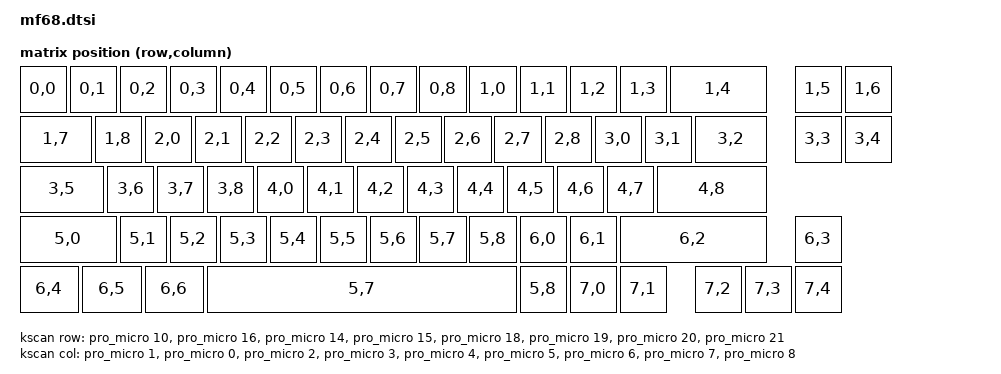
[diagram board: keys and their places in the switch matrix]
#include <physical_layouts.dtsi>
#include <dt-bindings/zmk/matrix_transform.h>

/ {
    chosen {
        zmk,kscan = &kscan;
        zmk,matrix_transform = &transform;
    };
    
    layout_mf68: layout_mf68 {
        compatible = "zmk,physical-layout";
        display-name = "Default";

        keys  //                     w   h    x    y     rot    rx    ry
            = <&key_physical_attrs 100 100    0    0       0     0     0>
            , <&key_physical_attrs 100 100  100    0       0     0     0>
            , <&key_physical_attrs 100 100  200    0       0     0     0>
            , <&key_physical_attrs 100 100  300    0       0     0     0>
            , <&key_physical_attrs 100 100  400    0       0     0     0>
            , <&key_physical_attrs 100 100  500    0       0     0     0>
            , <&key_physical_attrs 100 100  600    0       0     0     0>
            , <&key_physical_attrs 100 100  700    0       0     0     0>
            , <&key_physical_attrs 100 100  800    0       0     0     0>
            , <&key_physical_attrs 100 100  900    0       0     0     0>
            , <&key_physical_attrs 100 100 1000    0       0     0     0>
            , <&key_physical_attrs 100 100 1100    0       0     0     0>
            , <&key_physical_attrs 100 100 1200    0       0     0     0>
            , <&key_physical_attrs 200 100 1300    0       0     0     0>
            , <&key_physical_attrs 100 100 1550    0       0     0     0>
            , <&key_physical_attrs 100 100 1650    0       0     0     0>

            , <&key_physical_attrs 150 100    0  100       0     0     0>
            , <&key_physical_attrs 100 100  150  100       0     0     0>
            , <&key_physical_attrs 100 100  250  100       0     0     0>
            , <&key_physical_attrs 100 100  350  100       0     0     0>
            , <&key_physical_attrs 100 100  450  100       0     0     0>
            , <&key_physical_attrs 100 100  550  100       0     0     0>
            , <&key_physical_attrs 100 100  650  100       0     0     0>
            , <&key_physical_attrs 100 100  750  100       0     0     0>
            , <&key_physical_attrs 100 100  850  100       0     0     0>
            , <&key_physical_attrs 100 100  950  100       0     0     0>
            , <&key_physical_attrs 100 100 1050  100       0     0     0>
            , <&key_physical_attrs 100 100 1150  100       0     0     0>
            , <&key_physical_attrs 100 100 1250  100       0     0     0>
            , <&key_physical_attrs 150 100 1350  100       0     0     0>
            , <&key_physical_attrs 100 100 1550  100       0     0     0>
            , <&key_physical_attrs 100 100 1650  100       0     0     0>

            , <&key_physical_attrs 175 100    0  200       0     0     0>
            , <&key_physical_attrs 100 100  175  200       0     0     0>
            , <&key_physical_attrs 100 100  275  200       0     0     0>
            , <&key_physical_attrs 100 100  375  200       0     0     0>
            , <&key_physical_attrs 100 100  475  200       0     0     0>
            , <&key_physical_attrs 100 100  575  200       0     0     0>
            , <&key_physical_attrs 100 100  675  200       0     0     0>
            , <&key_physical_attrs 100 100  775  200       0     0     0>
            , <&key_physical_attrs 100 100  875  200       0     0     0>
            , <&key_physical_attrs 100 100  975  200       0     0     0>
            , <&key_physical_attrs 100 100 1075  200       0     0     0>
            , <&key_physical_attrs 100 100 1175  200       0     0     0>
            , <&key_physical_attrs 225 100 1275  200       0     0     0>

            , <&key_physical_attrs 200 100    0  300       0     0     0>
            , <&key_physical_attrs 100 100  200  300       0     0     0>
            , <&key_physical_attrs 100 100  300  300       0     0     0>
            , <&key_physical_attrs 100 100  400  300       0     0     0>
            , <&key_physical_attrs 100 100  500  300       0     0     0>
            , <&key_physical_attrs 100 100  600  300       0     0     0>
            , <&key_physical_attrs 100 100  700  300       0     0     0>
            , <&key_physical_attrs 100 100  800  300       0     0     0>
            , <&key_physical_attrs 100 100  900  300       0     0     0>
            , <&key_physical_attrs 100 100 1000  300       0     0     0>
            , <&key_physical_attrs 100 100 1100  300       0     0     0>
            , <&key_physical_attrs 300 100 1200  300       0     0     0>
            , <&key_physical_attrs 100 100 1550  300       0     0     0>

            , <&key_physical_attrs 125 100    0  400       0     0     0>
            , <&key_physical_attrs 125 100  125  400       0     0     0>
            , <&key_physical_attrs 125 100  250  400       0     0     0>
            , <&key_physical_attrs 625 100  375  400       0     0     0>
            , <&key_physical_attrs 100 100 1000  400       0     0     0>
            , <&key_physical_attrs 100 100 1100  400       0     0     0>
            , <&key_physical_attrs 100 100 1200  400       0     0     0>
            , <&key_physical_attrs 100 100 1350  400       0     0     0>
            , <&key_physical_attrs 100 100 1450  400       0     0     0>
            , <&key_physical_attrs 100 100 1550  400       0     0     0>
            ;
    };
    
    aliases {
        led-red = &led0;
        led-green = &led1;
        led-blue = &led2;
    };

    leds {
        compatible = "gpio-leds";
        status = "okay";
        led0: led_0 {
            gpios = <&gpio1 1 GPIO_ACTIVE_LOW>;
        };
        led1: led_1 {
            gpios = <&gpio1 2 GPIO_ACTIVE_LOW>;
        };
        led2: led_2 {
            gpios = <&gpio1 7 GPIO_ACTIVE_LOW>;
        };
    };

    kscan: kscan {
        compatible = "zmk,kscan-gpio-matrix";
        label = "KSCAN";
        diode-direction = "col2row";

        row-gpios = <&pro_micro 10 (GPIO_ACTIVE_LOW)>,  /* Pro Micro B6 -> P0.10 */
                    <&pro_micro 16 (GPIO_ACTIVE_LOW)>,  /* Pro Micro B2 -> P0.11 */
                    <&pro_micro 14 (GPIO_ACTIVE_LOW)>,  /* Pro Micro B3 -> P0.12 */
                    <&pro_micro 15 (GPIO_ACTIVE_LOW)>,  /* Pro Micro B1 -> P0.13 */
                    <&pro_micro 18 (GPIO_ACTIVE_LOW)>,  /* Pro Micro F7 -> P0.14 */
                    <&pro_micro 19 (GPIO_ACTIVE_LOW)>,  /* Pro Micro F6 -> P0.15 */
                    <&pro_micro 20 (GPIO_ACTIVE_LOW)>,  /* Pro Micro F3 -> P0.16 */
                    <&pro_micro 21 (GPIO_ACTIVE_LOW)>;  /* Pro Micro F4 -> P0.17 */

        col-gpios = <&pro_micro 1  (GPIO_ACTIVE_LOW)>,  /* Pro Micro D3 -> P0.02 */
                    <&pro_micro 0  (GPIO_ACTIVE_LOW)>,  /* Pro Micro D2 -> P0.03 */
                    <&pro_micro 2  (GPIO_ACTIVE_LOW)>, /* Pro Micro D1 -> P0.28 */
                    <&pro_micro 3  (GPIO_ACTIVE_LOW)>, /* Pro Micro D0 -> P0.29 */
                    <&pro_micro 4  (GPIO_ACTIVE_LOW)>, /* Pro Micro D4 -> P0.30 */
                    <&pro_micro 5  (GPIO_ACTIVE_LOW)>, /* Pro Micro C6 -> P0.31 */
                    <&pro_micro 6  (GPIO_ACTIVE_LOW)>,  /* Pro Micro D7 -> P1.02 */
                    <&pro_micro 7  (GPIO_ACTIVE_LOW)>,  /* Pro Micro E6 -> P1.04 */
                    <&pro_micro 8  (GPIO_ACTIVE_LOW)>;  /* Pro Micro B4 -> P1.06 */
    };

    transform: matrix_transform {
        compatible = "zmk,matrix-transform";
        rows = <5>;
        columns = <16>;

        map = <
                     RC(0, 0) RC(0, 1) RC(0, 2) RC(0, 3) RC(0, 4) RC(0, 5) RC(0, 6) RC(0, 7) RC(0, 8) RC(1, 0) RC(1, 1) RC(1, 2) RC(1, 3)     RC(1, 4)      RC(1, 5) RC(1, 6)
                     RC(1, 7)   RC(1, 8) RC(2, 0) RC(2, 1) RC(2, 2) RC(2, 3) RC(2, 4) RC(2, 5) RC(2, 6) RC(2, 7) RC(2, 8) RC(3, 0) RC(3, 1)    RC(3, 2)     RC(3, 3) RC(3, 4)
                      RC(3, 5)    RC(3, 6) RC(3, 7) RC(3, 8) RC(4, 0) RC(4, 1) RC(4, 2) RC(4, 3) RC(4, 4) RC(4, 5) RC(4, 6) RC(4, 7)          RC(4, 8)
                       RC(5, 0)     RC(5, 1) RC(5, 2) RC(5, 3) RC(5, 4) RC(5, 5) RC(5, 6) RC(5, 7) RC(5, 8) RC(6, 0) RC(6, 1)                RC(6, 2)       RC(6, 3)
                     RC(6, 4) RC(6, 5) RC(6, 6)                             RC(5, 7)                          RC(5, 8) RC(7, 0) RC(7, 1)           RC(7, 2) RC(7, 3) RC(7, 4)
        >;
    };

};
